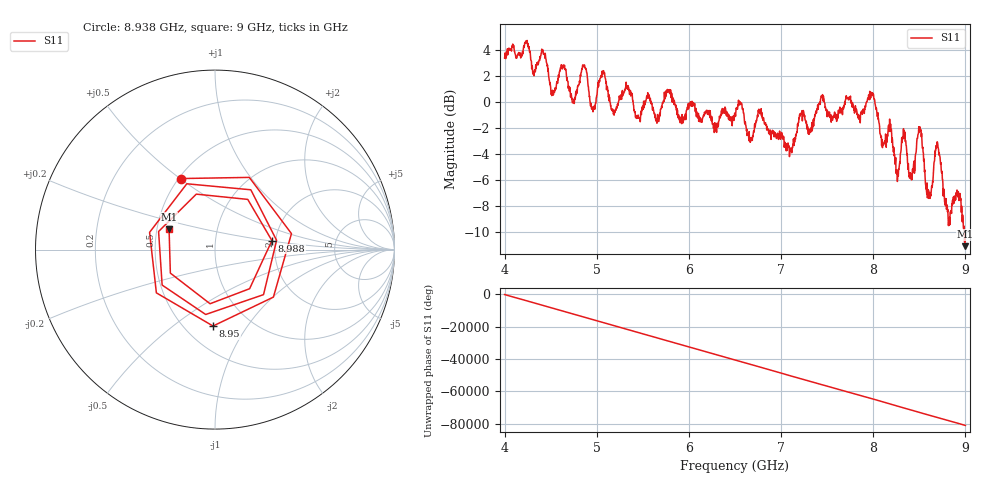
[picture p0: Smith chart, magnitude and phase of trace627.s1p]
! Created with skrf 1.8.0 (http://scikit-rf.org).
# Hz S RI R 50.0
!freq ReS11 ImS11
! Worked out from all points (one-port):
!   1601 points, 4 GHz to 9 GHz, reference 50 ohm
!   lowest |S11| = -11.1 dB at 9 GHz (marker M1), VSWR 1.78, Z = 29 + j7.08 ohm
!   |S11| at or under -10 dB: 8.988462 GHz to end of sweep
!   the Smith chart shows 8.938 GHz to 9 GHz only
!   S11 on the Smith chart (normalised r, x): 8.938 GHz: 0.52, +0.51; 8.95 GHz: 0.68, -0.71; 8.988 GHz: 1.91, +0.21; 9 GHz: 0.58, +0.14
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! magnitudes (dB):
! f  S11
! 4 GHz  3.4
! 4.422 GHz  3.7
! 4.525 GHz  0.5
! 4.625 GHz  2.7
! 4.741 GHz  -0.1
! 4.862 GHz  2.7
! 4.953 GHz  -0.4
! 5.062 GHz  2.2
! 5.175 GHz  -0.7
! 5.25 GHz  0.3
! 5.875 GHz  -0.6
! 6.5 GHz  -1.1
! 7.125 GHz  -3.5
! 7.225 GHz  -0.8
! 7.75 GHz  0.3
! 7.988 GHz  0.6
! 8.259 GHz  -5.4
! 8.331 GHz  -2.4
! 8.375 GHz  -4.8
! 8.428 GHz  -5.1
! 8.503 GHz  -2.3
! 8.597 GHz  -6.8
! 8.694 GHz  -3.1
! 8.812 GHz  -8.8
! 8.938 GHz  -7.2
! 8.95 GHz  -7.4
! 8.988 GHz  -9.9
! 9 GHz  -11.1
